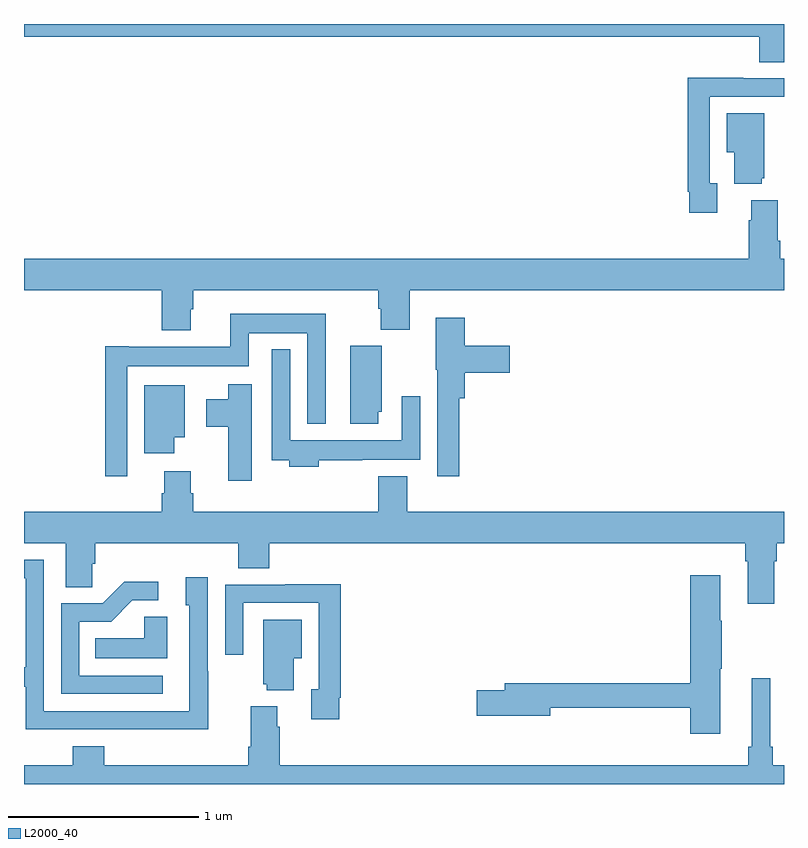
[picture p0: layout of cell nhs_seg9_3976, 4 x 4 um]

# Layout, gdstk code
import gdstk
lib = gdstk.Library(unit=1e-6, precision=1e-09)
def P(c, l, *ps):  # polygons
    for p in ps: c.add(gdstk.Polygon(p, *l))
L2000_40 = (2000, 40)

nhs_seg9_3976 = lib.new_cell('nhs_seg9_3976')
P(nhs_seg9_3976, L2000_40, [(343,1184.5),(339,1184.5),(339,1184.432),(342.869,1184.432),(342.869,1184.299),(343,1184.299)],
  [(342.649,1183.662),(342.609,1183.662),(342.609,1184.118),(343,1184.118),(343,1184.214),(342.785,1184.214),(342.785,1184.216),(342.493,1184.216),(342.493,1183.618),(342.501,1183.618),(342.501,1183.506),(342.649,1183.506)],
  [(342.884,1183.689),(342.895,1183.689),(342.895,1184.029),(342.698,1184.029),(342.698,1183.826),(342.737,1183.826),(342.737,1183.658),(342.884,1183.658)],
  [(339.877,1182.999),(339.89,1182.999),(339.89,1183.1),(340.865,1183.1),(340.865,1183.001),(340.877,1183.001),(340.877,1182.892),(341.03,1182.892),(341.03,1183.1),(343,1183.1),(343,1183.264),(342.98,1183.264),(342.98,1183.36),(342.967,1183.36),(342.967,1183.573),(342.827,1183.573),(342.827,1183.466),(342.815,1183.466),(342.815,1183.264),(339,1183.264),(339,1183.1),(339.725,1183.1),(339.725,1182.887),(339.877,1182.887)],
  [(339.543,1182.698),(340.182,1182.698),(340.182,1182.872),(340.491,1182.872),(340.491,1182.395),(340.588,1182.395),(340.588,1182.976),(340.085,1182.976),(340.085,1182.802),(339.55,1182.802),(339.55,1182.805),(339.427,1182.805),(339.427,1182.12),(339.543,1182.12)],
  [(341.291,1182.53),(341.321,1182.53),(341.321,1182.665),(341.557,1182.665),(341.557,1182.807),(341.321,1182.807),(341.321,1182.955),(341.168,1182.955),(341.168,1182.681),(341.175,1182.681),(341.175,1182.12),(341.291,1182.12)],
  [(340.864,1182.459),(340.882,1182.459),(340.882,1182.807),(340.718,1182.807),(340.718,1182.396),(340.864,1182.396)],
  [(340.55,1182.204),(340.781,1182.204),(340.781,1182.206),(341.085,1182.206),(341.085,1182.541),(340.989,1182.541),(340.989,1182.31),(340.401,1182.31),(340.401,1182.787),(340.305,1182.787),(340.305,1182.204),(340.397,1182.204),(340.397,1182.17),(340.55,1182.17)],
  [(340.198,1182.604),(340.076,1182.604),(340.076,1182.526),(339.959,1182.526),(339.959,1182.379),(340.076,1182.379),(340.076,1182.096),(340.198,1182.096)],
  [(339.79,1182.326),(339.847,1182.326),(339.847,1182.598),(339.632,1182.598),(339.632,1182.24),(339.79,1182.24)],
  [(342.797,1181.672),(342.809,1181.672),(342.809,1181.448),(342.949,1181.448),(342.949,1181.672),(342.962,1181.672),(342.962,1181.768),(343,1181.768),(343,1181.932),(341.017,1181.932),(341.017,1182.121),(340.865,1182.121),(340.865,1181.932),(339.89,1181.932),(339.89,1182.03),(339.877,1182.03),(339.877,1182.145),(339.737,1182.145),(339.737,1182.03),(339.725,1182.03),(339.725,1181.932),(339,1181.932),(339,1181.768),(339.221,1181.768),(339.221,1181.536),(339.36,1181.536),(339.36,1181.659),(339.374,1181.659),(339.374,1181.768),(340.127,1181.768),(340.127,1181.635),(340.292,1181.635),(340.292,1181.768),(342.797,1181.768)],
  [(339.969,1181.093),(339.966,1181.093),(339.966,1181.587),(339.851,1181.587),(339.851,1181.442),(339.87,1181.442),(339.87,1180.884),(339.105,1180.884),(339.105,1181.679),(339,1181.679),(339,1181.583),(339.009,1181.583),(339.009,1181.114),(339,1181.114),(339,1181.013),(339.009,1181.013),(339.009,1180.788),(339.505,1180.788),(339.505,1180.787),(339.969,1180.787)],
  [(342.664,1181.107),(342.672,1181.107),(342.672,1181.36),(342.664,1181.36),(342.664,1181.599),(342.506,1181.599),(342.506,1181.03),(341.531,1181.03),(341.531,1180.994),(341.382,1180.994),(341.382,1180.859),(341.77,1180.859),(341.77,1180.902),(342.506,1180.902),(342.506,1180.764),(342.664,1180.764)],
  [(339.73,1181.07),(339.291,1181.07),(339.291,1181.355),(339.46,1181.355),(339.571,1181.466),(339.706,1181.466),(339.706,1181.564),(339.527,1181.564),(339.414,1181.451),(339.195,1181.451),(339.195,1180.974),(339.73,1180.974)],
  [(340.66,1180.954),(340.667,1180.954),(340.667,1181.552),(340.375,1181.552),(340.375,1181.55),(340.059,1181.55),(340.059,1181.181),(340.155,1181.181),(340.155,1181.454),(340.551,1181.454),(340.551,1180.998),(340.511,1180.998),(340.511,1180.842),(340.66,1180.842)],
  [(339.754,1181.381),(339.633,1181.381),(339.633,1181.266),(339.376,1181.266),(339.376,1181.162),(339.754,1181.162)],
  [(340.42,1181.162),(340.462,1181.162),(340.462,1181.365),(340.259,1181.365),(340.259,1181.025),(340.277,1181.025),(340.277,1180.994),(340.42,1180.994)],
  [(343,1180.6),(342.941,1180.6),(342.941,1180.696),(342.927,1180.696),(342.927,1181.056),(342.83,1181.056),(342.83,1180.696),(342.811,1180.696),(342.811,1180.6),(340.346,1180.6),(340.346,1180.802),(340.333,1180.802),(340.333,1180.909),(340.193,1180.909),(340.193,1180.696),(340.181,1180.696),(340.181,1180.6),(339.422,1180.6),(339.422,1180.699),(339.257,1180.699),(339.257,1180.6),(339,1180.6),(339,1180.5),(343,1180.5)])

lib.write_gds('nhs_seg9_3976.gds')
